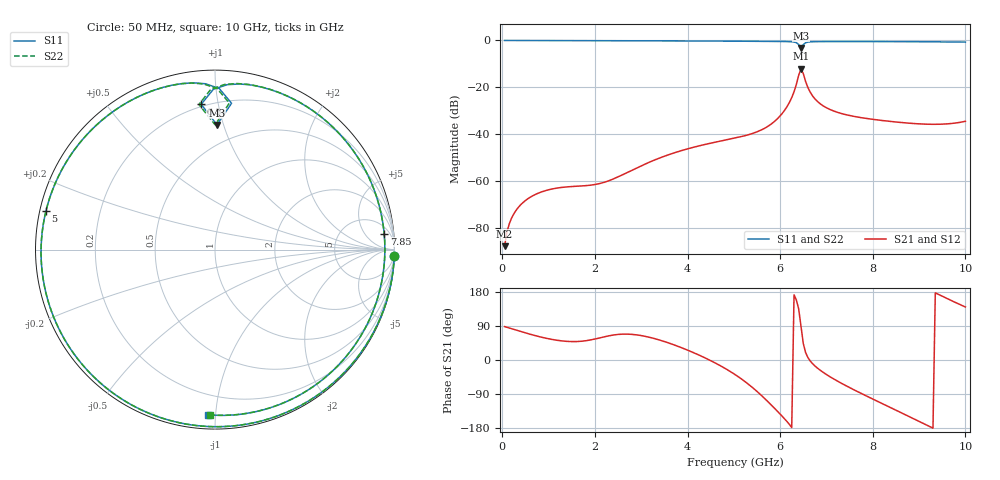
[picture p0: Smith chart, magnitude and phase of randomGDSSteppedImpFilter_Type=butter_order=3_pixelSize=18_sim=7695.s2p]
! freq	dB(S11)	phase(S11)	dB(S12)	phase(S12)
!  dB(S21)	phase(S21)	dB(S22)	phase(S22)
!S-par simulation data
#  GHz  S  DB  R 50
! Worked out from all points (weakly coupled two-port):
!   200 points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, 50 MHz to 10 GHz, reference 50 ohm
!   highest |S21| = -12.07 dB at 6.45 GHz (marker M1); lowest = -88.0 dB at 50 MHz (marker M2)
!   lowest |S11| = -3.2 dB at 6.45 GHz (marker M3), VSWR 5.56, Z = 17.7 + j47.6 ohm
!   |S11| at or under -10 dB: nowhere
!   |S22| runs from -3.2 to 0.0 dB; largest |S21 - S12| = 0
!   S11 on the Smith chart (normalised r, x): 50 MHz: 1, -60; 5 GHz: 0.02, +0.11; 6.5 GHz: 0.19, +0.89; 7.85 GHz: 9, +16; 10 GHz: 0.08, -0.96
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0.05  -0.00 -1.9  -87.96 88.2  -87.96 88.2  -0.00 -1.9
0.1  -0.01 -3.8  -81.95 86.3  -81.95 86.3  -0.01 -3.8
0.35  -0.02 -13.2  -71.28 76.9  -71.28 76.9  -0.02 -13.2
0.65  -0.03 -24.4  -66.49 66.3  -66.49 66.3  -0.03 -24.4
1.75  -0.08 -65.1  -62.16 50.0  -62.16 50.0  -0.08 -65.1
2.55  -0.12 -94.3  -57.86 68.0  -57.86 68.0  -0.12 -94.3
3.4  -0.17 -125.9  -50.24 52.6  -50.24 52.6  -0.17 -125.8
4.25  -0.23 -159.6  -45.07 12.9  -45.07 12.9  -0.23 -159.4
5  -0.30 167.2  -41.84 -36.4  -41.84 -36.4  -0.30 167.6
5.05  -0.31 164.8  -41.62 -40.4  -41.62 -40.4  -0.30 165.2
5.6  -0.37 136.9  -38.20 -94.0  -38.20 -94.0  -0.36 137.5
6  -0.43 114.0  -32.24 -142.8  -32.24 -142.8  -0.42 114.8
6.3  -0.67 93.3  -21.93 171.9  -21.93 171.9  -0.67 94.1
6.4  -1.72 83.5  -14.90 134.8  -14.90 134.8  -1.72 84.4
6.45  -3.16 89.1  -12.07 89.3  -12.07 89.3  -3.16 89.9
6.5  -1.80 95.4  -14.20 43.2  -14.20 43.2  -1.79 96.3
6.7  -0.55 77.7  -23.71 -9.7  -23.71 -9.7  -0.55 78.6
7.3  -0.47 38.3  -31.11 -59.9  -31.11 -59.9  -0.47 39.3
7.85  -0.48 5.4  -33.31 -94.2  -33.31 -94.2  -0.47 6.4
8.35  -0.49 -21.7  -34.55 -123.7  -34.55 -123.7  -0.49 -20.8
9.15  -0.56 -59.1  -35.80 -170.9  -35.80 -170.9  -0.56 -58.4
10  -0.71 -92.3  -34.57 139.9  -34.57 139.9  -0.71 -91.8
